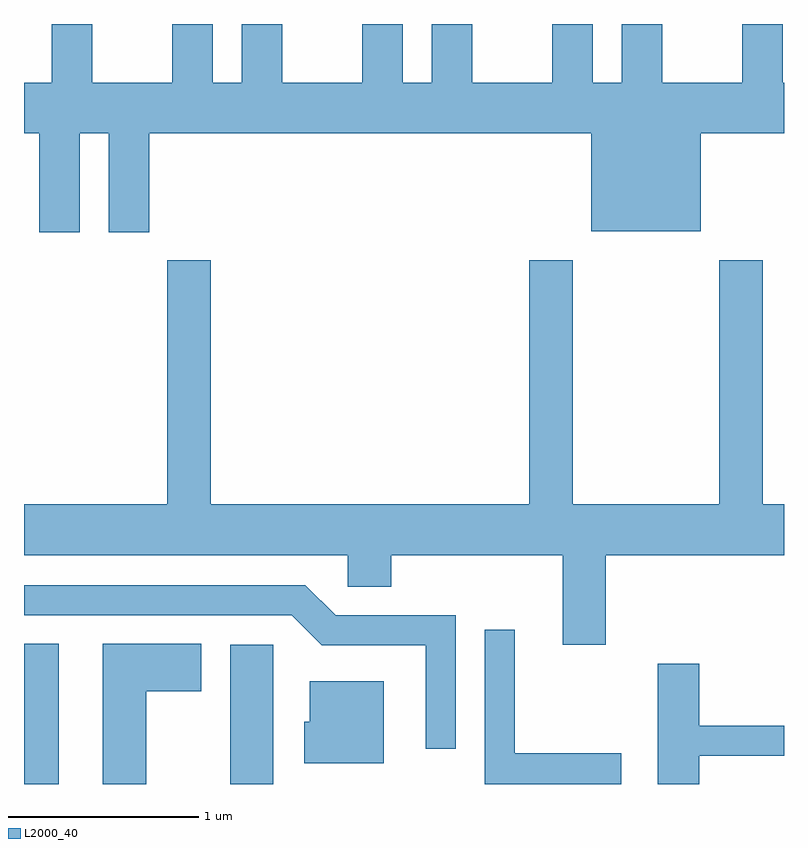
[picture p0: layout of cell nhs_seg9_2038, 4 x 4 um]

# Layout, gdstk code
import gdstk
lib = gdstk.Library(unit=1e-6, precision=1e-09)
def R(c, l, rs):  # rectangles x0, y0, x1, y1
    for r in rs: c.add(gdstk.rectangle(r[:2], r[2:], *l))
def P(c, l, *ps):  # polygons
    for p in ps: c.add(gdstk.Polygon(p, *l))
L2000_40 = (2000, 40)

nhs_seg9_2038 = lib.new_cell('nhs_seg9_2038')
R(nhs_seg9_2038, L2000_40, [(245.611,1948.432,245.794,1949.169), (246.696,1948.432,246.924,1949.164)])
P(nhs_seg9_2038, L2000_40, [(245.904,1951.856),(246.056,1951.856),(246.056,1951.336),(246.269,1951.336),(246.269,1951.856),(248.596,1951.856),(248.596,1951.341),(249.174,1951.341),(249.174,1951.856),(249.611,1951.856),(249.611,1952.124),(249.604,1952.124),(249.604,1952.432),(249.391,1952.432),(249.391,1952.124),(248.969,1952.124),(248.969,1952.432),(248.756,1952.432),(248.756,1952.124),(248.604,1952.124),(248.604,1952.432),(248.391,1952.432),(248.391,1952.124),(247.969,1952.124),(247.969,1952.432),(247.756,1952.432),(247.756,1952.124),(247.604,1952.124),(247.604,1952.432),(247.391,1952.432),(247.391,1952.124),(246.969,1952.124),(246.969,1952.432),(246.756,1952.432),(246.756,1952.124),(246.604,1952.124),(246.604,1952.432),(246.391,1952.432),(246.391,1952.124),(245.969,1952.124),(245.969,1952.432),(245.756,1952.432),(245.756,1952.124),(245.611,1952.124),(245.611,1951.856),(245.691,1951.856),(245.691,1951.336),(245.904,1951.336)],
  [(249.611,1949.904),(249.499,1949.904),(249.499,1951.189),(249.271,1951.189),(249.271,1949.904),(248.499,1949.904),(248.499,1951.189),(248.271,1951.189),(248.271,1949.904),(246.594,1949.904),(246.594,1951.189),(246.366,1951.189),(246.366,1949.904),(245.611,1949.904),(245.611,1949.636),(247.316,1949.636),(247.316,1949.471),(247.544,1949.471),(247.544,1949.636),(248.446,1949.636),(248.446,1949.166),(248.674,1949.166),(248.674,1949.636),(249.611,1949.636)],
  [(247.884,1949.319),(247.252,1949.319),(247.092,1949.479),(245.611,1949.479),(245.611,1949.321),(247.019,1949.321),(247.179,1949.161),(247.726,1949.161),(247.726,1948.618),(247.884,1948.618)],
  [(248.754,1948.594),(248.194,1948.594),(248.194,1949.243),(248.036,1949.243),(248.036,1948.432),(248.754,1948.432)],
  [(246.254,1948.921),(246.544,1948.921),(246.544,1949.169),(246.026,1949.169),(246.026,1948.432),(246.254,1948.432)],
  [(249.164,1948.581),(249.611,1948.581),(249.611,1948.739),(249.164,1948.739),(249.164,1949.064),(248.946,1949.064),(248.946,1948.432),(249.164,1948.432)],
  [(247.504,1948.974),(247.116,1948.974),(247.116,1948.759),(247.086,1948.759),(247.086,1948.541),(247.504,1948.541)])

lib.write_gds('nhs_seg9_2038.gds')
